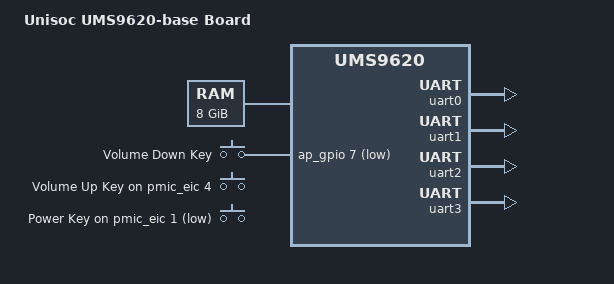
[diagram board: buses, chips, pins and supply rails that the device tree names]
// SPDX-License-Identifier: GPL-2.0-only
/*
 * Spreadtrum Qogirn6pro board common DTS file
 *
 * Copyright (C) 2021, Unisoc Inc.
 */

/dts-v1/;
#include <dt-bindings/input/input.h>
#include <dt-bindings/gpio/gpio.h>
#include "reserved-memory/modem-5g-common.dtsi"
#include "ums9620/ums9620.dtsi"
#include "ump9620/ump9620.dtsi"
#include "ump9621/ump9621.dtsi"
#include "ump9622/ump9622.dtsi"
/{
	model = "Unisoc UMS9620-base Board";

	compatible = "sprd,ums512-base", "sprd,ums9620";

	sprd,sc-id = "ums9620 1000 1000";

	aliases {
		serial0 = &uart0;
		serial1 = &uart1;
		serial2 = &uart2;
		serial3 = &uart3;
	};

	memory@80000000 {
		device_type = "memory";
		reg = <0x0 0x80000000 0x2 0x00000000>;
	};

	chosen: chosen {
		stdout-path = "serial1:115200n8";
		bootargs = "earlycon=sprd_serial,0x20210000,115200n8 console=ttyS1,115200n8 loglevel=1 init=/init root=/dev/ram0 rw printk.devkmsg=on pcie_ports=compat swiotlb=1 initcall_debug=1";
	};

	ion: ion {
		compatible = "sprd,ion";
		#address-cells = <1>;
		#size-cells = <0>;
	};

	gpio-keys {
		compatible = "gpio-keys";

		key-volumedown {
			label = "Volume Down Key";
			linux,code = <KEY_VOLUMEDOWN>;
			gpios = <&ap_gpio 7 GPIO_ACTIVE_LOW>;
			debounce-interval = <2>;
			wakeup-source;
		};

		key-volumeup {
			label = "Volume Up Key";
			linux,code = <KEY_VOLUMEUP>;
			gpios = <&pmic_eic 4 GPIO_ACTIVE_HIGH>;
			debounce-interval = <2>;
			wakeup-source;
		};

		key-power {
			label = "Power Key";
			linux,code = <KEY_POWER>;
			gpios = <&pmic_eic 1 GPIO_ACTIVE_LOW>;
			debounce-interval = <2>;
			wakeup-source;
		};
	};
};

&uart0 {
	status = "okay";
};

&uart1 {
	status = "okay";
};

&uart2 {
	status = "okay";
};

&uart3 {
	status = "okay";
};

